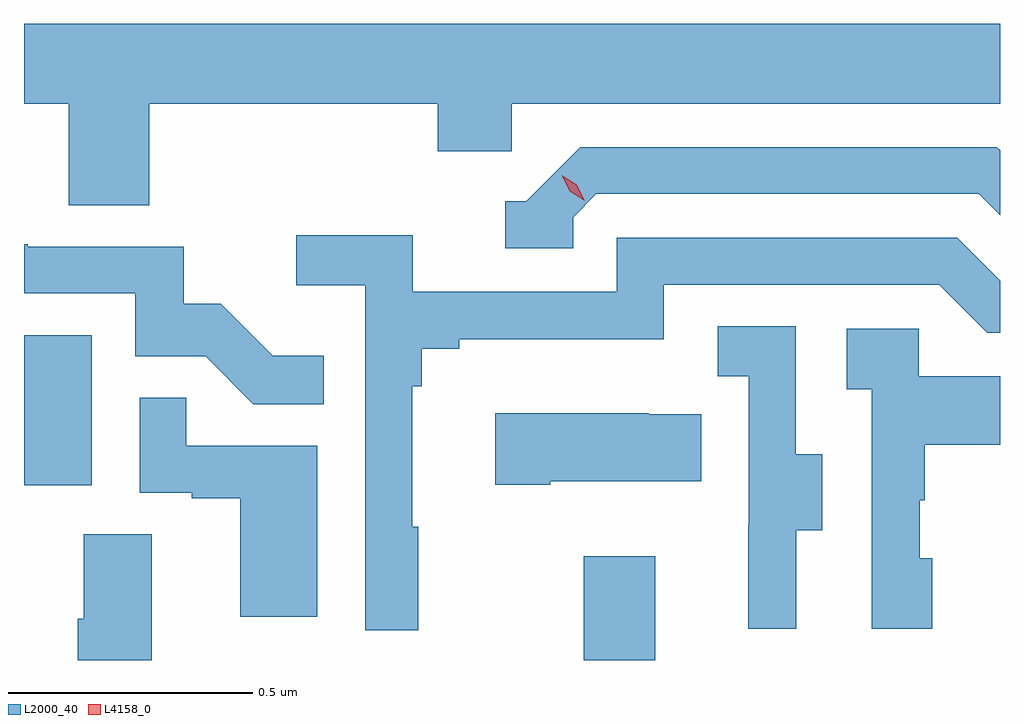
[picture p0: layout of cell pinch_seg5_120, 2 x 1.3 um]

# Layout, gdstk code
import gdstk
lib = gdstk.Library(unit=1e-6, precision=1e-09)
def R(c, l, rs):  # rectangles x0, y0, x1, y1
    for r in rs: c.add(gdstk.rectangle(r[:2], r[2:], *l))
def P(c, l, *ps):  # polygons
    for p in ps: c.add(gdstk.Polygon(p, *l))
L2000_40 = (2000, 40)
L4158_0 = (4158, 0)

pinch_seg5_120 = lib.new_cell('pinch_seg5_120')
R(pinch_seg5_120, L2000_40, [(1046.722,888.919,1046.869,889.132), (1045.575,889.278,1045.714,889.585)])
P(pinch_seg5_120, L2000_40, [(1045.575,890.06),(1045.667,890.06),(1045.667,889.852),(1045.832,889.852),(1045.832,890.06),(1046.423,890.06),(1046.423,889.962),(1046.574,889.962),(1046.574,890.06),(1047.575,890.06),(1047.575,890.224),(1045.575,890.224)],
  [(1046.7,889.827),(1046.748,889.875),(1047.531,889.875),(1047.575,889.831),(1047.575,889.964),(1047.568,889.971),(1046.715,889.971),(1046.604,889.86),(1046.561,889.86),(1046.561,889.764),(1046.7,889.764)],
  [(1046.383,889.193),(1046.371,889.193),(1046.371,889.481),(1046.39,889.481),(1046.39,889.558),(1046.467,889.558),(1046.467,889.577),(1046.886,889.577),(1046.886,889.689),(1047.45,889.689),(1047.549,889.59),(1047.575,889.59),(1047.575,889.697),(1047.487,889.785),(1046.79,889.785),(1046.79,889.674),(1046.372,889.674),(1046.372,889.79),(1046.133,889.79),(1046.133,889.688),(1046.274,889.688),(1046.274,888.981),(1046.383,888.981)],
  [(1046.189,889.543),(1046.085,889.543),(1045.978,889.65),(1045.902,889.65),(1045.902,889.767),(1045.583,889.767),(1045.583,889.772),(1045.575,889.772),(1045.575,889.671),(1045.803,889.671),(1045.803,889.542),(1045.947,889.542),(1046.045,889.444),(1046.189,889.444)],
  [(1047.157,889.186),(1047.211,889.186),(1047.211,889.341),(1047.156,889.341),(1047.156,889.604),(1046.997,889.604),(1046.997,889.501),(1047.06,889.501),(1047.06,889.197),(1047.059,889.197),(1047.059,888.984),(1047.157,888.984)],
  [(1047.436,889.128),(1047.411,889.128),(1047.411,889.247),(1047.421,889.247),(1047.421,889.361),(1047.575,889.361),(1047.575,889.501),(1047.408,889.501),(1047.408,889.599),(1047.261,889.599),(1047.261,889.475),(1047.312,889.475),(1047.312,888.984),(1047.436,888.984)],
  [(1046.176,889.359),(1045.907,889.359),(1045.907,889.457),(1045.812,889.457),(1045.812,889.263),(1045.919,889.263),(1045.919,889.251),(1046.018,889.251),(1046.018,889.008),(1046.176,889.008)],
  [(1046.653,889.286),(1046.963,889.286),(1046.963,889.423),(1046.855,889.423),(1046.855,889.426),(1046.541,889.426),(1046.541,889.279),(1046.653,889.279)],
  [(1045.837,889.178),(1045.697,889.178),(1045.697,889.004),(1045.685,889.004),(1045.685,888.919),(1045.837,888.919)])
P(pinch_seg5_120, L4158_0, [(1046.724,889.861),(1046.693,889.88),(1046.677,889.913),(1046.677,889.913),(1046.677,889.913),(1046.708,889.894),(1046.724,889.861),(1046.724,889.861)])

lib.write_gds('pinch_seg5_120.gds')
